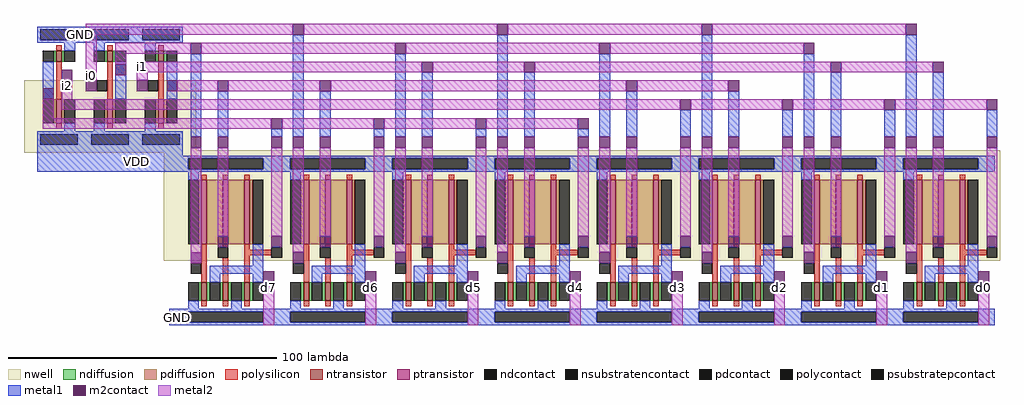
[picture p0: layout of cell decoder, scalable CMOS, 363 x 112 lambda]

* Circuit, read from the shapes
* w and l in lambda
.subckt decoder GND VDD d0 d1 d2 d3 d4 d5 d6 d7 i0 i1 i2
M1 GND i2 3nor_0/C GND nfet w=4 l=2
M2 3nor_0/A i0 GND GND nfet w=4 l=2
M3 3nor_0/B i1 GND GND nfet w=4 l=2
M4 d7 3nor_0/A GND GND nfet w=7 l=2
M5 GND 3nor_0/B d7 GND nfet w=7 l=2
M6 d7 3nor_0/C GND GND nfet w=7 l=2
M7 d6 i0 GND GND nfet w=7 l=2
M8 GND 3nor_0/B d6 GND nfet w=7 l=2
M9 d6 3nor_0/C GND GND nfet w=7 l=2
M10 d5 3nor_0/A GND GND nfet w=7 l=2
M11 GND i1 d5 GND nfet w=7 l=2
M12 d5 3nor_0/C GND GND nfet w=7 l=2
M13 d4 i0 GND GND nfet w=7 l=2
M14 GND i1 d4 GND nfet w=7 l=2
M15 d4 3nor_0/C GND GND nfet w=7 l=2
M16 d3 3nor_0/A GND GND nfet w=7 l=2
M17 GND 3nor_0/B d3 GND nfet w=7 l=2
M18 d3 i2 GND GND nfet w=7 l=2
M19 d2 i0 GND GND nfet w=7 l=2
M20 GND 3nor_0/B d2 GND nfet w=7 l=2
M21 d2 i2 GND GND nfet w=7 l=2
M22 d1 3nor_0/A GND GND nfet w=7 l=2
M23 GND i1 d1 GND nfet w=7 l=2
M24 d1 i2 GND GND nfet w=7 l=2
M25 d0 i0 GND GND nfet w=7 l=2
M26 GND i1 d0 GND nfet w=7 l=2
M27 d0 i2 GND GND nfet w=7 l=2
M28 VDD i2 3nor_0/C VDD pfet w=9 l=2
M29 3nor_0/A i0 VDD VDD pfet w=9 l=2
M30 3nor_0/B i1 VDD VDD pfet w=9 l=2
M31 n1 3nor_0/A VDD VDD pfet w=24 l=2
M32 n2 3nor_0/B n1 VDD pfet w=24 l=2
M33 d7 3nor_0/C n2 VDD pfet w=24 l=2
M34 n3 i0 VDD VDD pfet w=24 l=2
M35 n4 3nor_0/B n3 VDD pfet w=24 l=2
M36 d6 3nor_0/C n4 VDD pfet w=24 l=2
M37 n5 3nor_0/A VDD VDD pfet w=24 l=2
M38 n6 i1 n5 VDD pfet w=24 l=2
M39 d5 3nor_0/C n6 VDD pfet w=24 l=2
M40 n7 i0 VDD VDD pfet w=24 l=2
M41 n8 i1 n7 VDD pfet w=24 l=2
M42 d4 3nor_0/C n8 VDD pfet w=24 l=2
M43 n9 3nor_0/A VDD VDD pfet w=24 l=2
M44 n10 3nor_0/B n9 VDD pfet w=24 l=2
M45 d3 i2 n10 VDD pfet w=24 l=2
M46 n11 i0 VDD VDD pfet w=24 l=2
M47 n12 3nor_0/B n11 VDD pfet w=24 l=2
M48 d2 i2 n12 VDD pfet w=24 l=2
M49 n13 3nor_0/A VDD VDD pfet w=24 l=2
M50 n14 i1 n13 VDD pfet w=24 l=2
M51 d1 i2 n14 VDD pfet w=24 l=2
M52 n15 i0 VDD VDD pfet w=24 l=2
M53 n16 i1 n15 VDD pfet w=24 l=2
M54 d0 i2 n16 VDD pfet w=24 l=2
.ends

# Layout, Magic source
magic
tech scmos
<< nwell >>
rect -34 80 -30 84
<< metal1 >>
rect -47 105 7 111
rect -47 57 7 72
rect 10 70 14 101
rect 20 70 24 87
rect 40 70 44 73
rect 48 70 52 108
rect 58 70 62 87
rect 78 70 82 73
rect 86 70 90 101
rect 96 70 100 94
rect 116 70 120 73
rect 124 70 128 108
rect 134 70 138 94
rect 154 70 158 73
rect 162 70 166 101
rect 172 70 176 87
rect 192 70 196 80
rect 200 70 204 108
rect 210 70 214 87
rect 230 70 234 80
rect 238 70 242 101
rect 248 70 252 94
rect 268 70 272 80
rect 276 70 280 108
rect 286 70 290 94
rect 306 70 310 80
<< m2contact >>
rect 48 108 52 112
rect 10 101 14 105
rect -38 91 -34 95
rect -18 93 -14 97
rect -45 84 -41 88
rect -29 87 -25 91
rect -10 87 -6 91
rect 1 87 5 91
rect 10 66 14 70
rect 20 87 24 91
rect 20 66 24 70
rect 40 73 44 77
rect 40 66 44 70
rect 124 108 128 112
rect 86 101 90 105
rect 48 66 52 70
rect 58 87 62 91
rect 58 66 62 70
rect 78 73 82 77
rect 78 66 82 70
rect 86 66 90 70
rect 96 94 100 98
rect 96 66 100 70
rect 116 73 120 77
rect 116 66 120 70
rect 200 108 204 112
rect 162 101 166 105
rect 124 66 128 70
rect 134 94 138 98
rect 134 66 138 70
rect 154 73 158 77
rect 154 66 158 70
rect 162 66 166 70
rect 172 87 176 91
rect 172 66 176 70
rect 192 80 196 84
rect 192 66 196 70
rect 276 108 280 112
rect 238 101 242 105
rect 200 66 204 70
rect 210 87 214 91
rect 210 66 214 70
rect 230 80 234 84
rect 230 66 234 70
rect 238 66 242 70
rect 248 94 252 98
rect 248 66 252 70
rect 268 80 272 84
rect 268 66 272 70
rect 276 66 280 70
rect 286 94 290 98
rect 286 66 290 70
rect 306 80 310 84
rect 306 66 310 70
rect 37 16 41 20
rect 75 16 79 20
rect 113 16 117 20
rect 151 16 155 20
rect 189 16 193 20
rect 227 16 231 20
rect 265 16 269 20
rect 303 16 307 20
<< metal2 >>
rect -29 108 48 112
rect 52 108 124 112
rect 128 108 200 112
rect 204 108 276 112
rect -45 77 -41 84
rect -38 84 -34 91
rect -29 91 -25 108
rect -18 101 10 105
rect 14 101 86 105
rect 90 101 162 105
rect 166 101 238 105
rect -18 97 -14 101
rect -10 94 96 98
rect 100 94 134 98
rect 138 94 248 98
rect 252 94 286 98
rect -10 91 -6 94
rect 5 87 20 91
rect 24 87 58 91
rect 62 87 172 91
rect 176 87 210 91
rect -38 80 192 84
rect 196 80 230 84
rect 234 80 268 84
rect 272 80 306 84
rect -45 73 40 77
rect 44 73 78 77
rect 82 73 116 77
rect 120 73 154 77
rect 10 23 14 66
rect 20 33 24 66
rect 40 33 44 66
rect 48 27 52 66
rect 58 33 62 66
rect 78 33 82 66
rect 86 27 90 66
rect 96 33 100 66
rect 116 33 120 66
rect 124 27 128 66
rect 134 33 138 66
rect 154 33 158 66
rect 162 27 166 66
rect 172 33 176 66
rect 192 33 196 66
rect 200 27 204 66
rect 210 33 214 66
rect 230 33 234 66
rect 238 27 242 66
rect 248 33 252 66
rect 268 33 272 66
rect 276 27 280 66
rect 286 33 290 66
rect 306 33 310 66
rect 37 0 41 16
rect 75 0 79 16
rect 113 0 117 16
rect 151 0 155 16
rect 189 0 193 16
rect 227 0 231 16
rect 265 0 269 16
rect 303 0 307 16
use inv  inv_0
transform -1 0 -33 0 -1 85
box -6 -26 19 21
use inv  inv_1
transform 1 0 -26 0 -1 85
box -6 -26 19 21
use inv  inv_2
transform 1 0 -7 0 -1 85
box -6 -26 19 21
use 3nor  3nor_0
transform 1 0 9 0 1 30
box -9 -30 36 35
use 3nor  3nor_1
transform 1 0 47 0 1 30
box -9 -30 36 35
use 3nor  3nor_2
transform 1 0 85 0 1 30
box -9 -30 36 35
use 3nor  3nor_3
transform 1 0 123 0 1 30
box -9 -30 36 35
use 3nor  3nor_4
transform 1 0 161 0 1 30
box -9 -30 36 35
use 3nor  3nor_5
transform 1 0 199 0 1 30
box -9 -30 36 35
use 3nor  3nor_6
transform 1 0 237 0 1 30
box -9 -30 36 35
use 3nor  3nor_7
transform 1 0 275 0 1 30
box -9 -30 36 35
<< labels >>
rlabel metal2 -8 96 -8 96 0 i1
rlabel metal2 -27 93 -27 93 1 i0
rlabel metal2 39 14 39 14 1 d7
rlabel metal2 77 14 77 14 1 d6
rlabel metal2 115 14 115 14 1 d5
rlabel metal2 153 14 153 14 1 d4
rlabel metal2 191 14 191 14 1 d3
rlabel metal2 229 14 229 14 1 d2
rlabel metal2 267 14 267 14 1 d1
rlabel metal2 305 14 305 14 1 d0
rlabel metal1 -10 61 -10 61 0 VDD
rlabel space 5 3 5 3 0 GND
rlabel metal1 -31 108 -31 108 0 GND
rlabel metal2 -36 89 -36 89 0 i2
<< end >>

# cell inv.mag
magic
tech scmos
<< nwell >>
rect -6 -6 19 21
<< ntransistor >>
rect 5 -17 7 -13
<< ptransistor >>
rect 5 1 7 10
<< ndiffusion >>
rect 4 -17 5 -13
rect 7 -17 8 -13
<< pdiffusion >>
rect 4 1 5 10
rect 7 1 8 10
<< ndcontact >>
rect 0 -17 4 -13
rect 8 -17 12 -13
<< pdcontact >>
rect 0 1 4 10
rect 8 1 12 10
<< psubstratepcontact >>
rect -1 -25 13 -21
<< nsubstratencontact >>
rect -1 14 13 18
<< polysilicon >>
rect 5 10 7 12
rect 5 -13 7 1
rect 5 -19 7 -17
<< polycontact >>
rect 1 -6 5 -2
<< metal1 >>
rect -2 18 14 19
rect -2 14 -1 18
rect 13 14 14 18
rect -2 13 14 14
rect 0 10 4 13
rect 8 -13 12 1
rect 0 -20 4 -17
rect -2 -21 14 -20
rect -2 -25 -1 -21
rect 13 -25 14 -21
rect -2 -26 14 -25
<< labels >>
rlabel metal1 6 -26 6 -26 1 Gnd
rlabel metal1 6 19 6 19 5 Vdd
rlabel polycontact 3 -5 3 -5 1 A
<< end >>

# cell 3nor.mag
magic
tech scmos
<< nwell >>
rect -9 -6 36 35
<< ntransistor >>
rect 5 -21 7 -14
rect 13 -21 15 -14
rect 21 -21 23 -14
<< ptransistor >>
rect 5 0 7 24
rect 13 0 15 24
rect 21 0 23 24
<< ndiffusion >>
rect 4 -21 5 -14
rect 7 -21 8 -14
rect 12 -21 13 -14
rect 15 -21 16 -14
rect 20 -21 21 -14
rect 23 -21 24 -14
<< pdiffusion >>
rect 4 0 5 24
rect 7 0 13 24
rect 15 0 21 24
rect 23 0 24 24
<< ndcontact >>
rect 0 -21 4 -14
rect 8 -21 12 -14
rect 16 -21 20 -14
rect 24 -21 28 -14
<< pdcontact >>
rect 0 0 4 24
rect 24 0 28 24
<< psubstratepcontact >>
rect 0 -29 28 -25
<< nsubstratencontact >>
rect 0 28 28 32
<< polysilicon >>
rect 5 24 7 26
rect 13 24 15 26
rect 21 24 23 26
rect 5 -14 7 0
rect 13 -1 15 0
rect 13 -14 15 -5
rect 21 -2 23 0
rect 21 -4 31 -2
rect 21 -14 23 -4
rect 5 -23 7 -21
rect 13 -23 15 -21
rect 21 -23 23 -21
<< polycontact >>
rect 1 -11 5 -7
rect 11 -5 15 -1
rect 31 -5 35 -1
<< metal1 >>
rect -7 32 34 33
rect -7 28 0 32
rect 28 28 34 32
rect -7 27 34 28
rect 0 24 4 27
rect 24 -8 28 0
rect 8 -11 28 -8
rect 8 -14 12 -11
rect 24 -14 28 -11
rect 0 -24 4 -21
rect 16 -24 20 -21
rect -7 -25 34 -24
rect -7 -29 0 -25
rect 28 -29 34 -25
rect -7 -30 34 -29
<< m2contact >>
rect 11 -1 15 3
rect 1 -7 5 -3
rect 31 -1 35 3
<< labels >>
rlabel metal1 26 -7 26 -7 1 OUT
rlabel metal1 14 33 14 33 5 VDD
rlabel metal1 14 -30 14 -30 1 GND
rlabel polycontact 13 -3 13 -3 1 B
rlabel polycontact 33 -3 33 -3 7 C
rlabel polycontact 3 -9 3 -9 1 A
<< end >>
